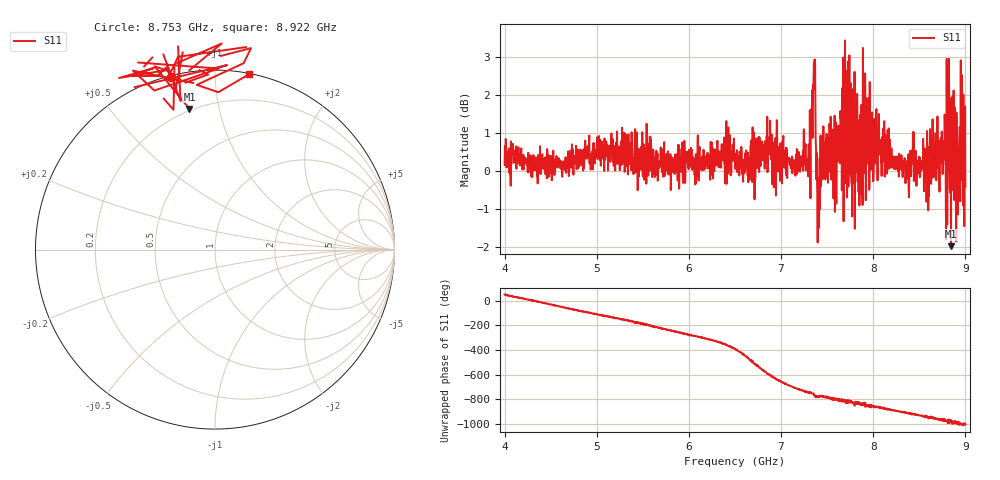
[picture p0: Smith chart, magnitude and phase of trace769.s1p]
! Created with skrf 1.8.0 (http://scikit-rf.org).
# Hz S RI R 50.0
!freq ReS11 ImS11
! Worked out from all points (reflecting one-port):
!   1601 points, 4 GHz to 9 GHz, reference 50 ohm
!   lowest |S11| = -2.0 dB at 8.844 GHz (marker M1), VSWR 8.84, Z = 9.51 + j40.8 ohm
!   phase of S11 starts at 51 deg and turns -1054 deg over the sweep
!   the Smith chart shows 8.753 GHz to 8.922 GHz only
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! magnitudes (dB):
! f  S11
! 4 GHz  0.2
! 4.625 GHz  -0.1
! 5.25 GHz  0.0
! 5.875 GHz  0.4
! 6.5 GHz  0.4
! 6.725 GHz  0.8
! 6.875 GHz  0.9
! 6.925 GHz  0.3
! 7.125 GHz  0.2
! 7.294 GHz  -0.1
! 7.347 GHz  2.3
! 7.369 GHz  2.9
! 7.409 GHz  -0.4
! 7.512 GHz  0.5
! 7.588 GHz  0.3
! 7.669 GHz  0.4
! 7.75 GHz  1.3
! 7.784 GHz  -0.3
! 7.928 GHz  1.9
! 8.375 GHz  -0.2
! 8.441 GHz  -0.3
! 8.581 GHz  0.0
! 8.8 GHz  1.2
! 8.844 GHz  -2.0
! 8.872 GHz  2.1
! 8.919 GHz  -1.1
! 8.959 GHz  2.5
! 9 GHz  -0.4
